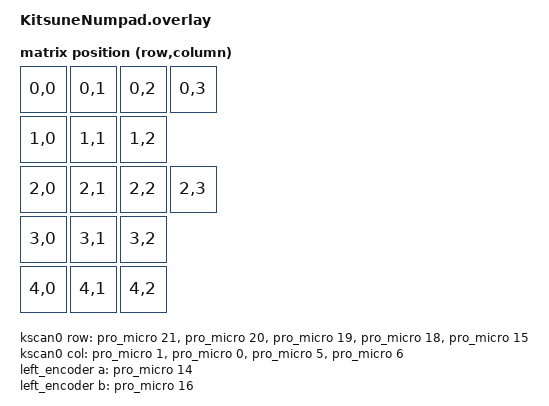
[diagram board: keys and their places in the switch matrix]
#include <dt-bindings/zmk/matrix_transform.h>
#include "KitsuneNumpad-layouts.dtsi"

&physical_layout0 {
    transform = <&matrix_transform0>;
};

/ {
    chosen {
        zephyr,display = &oled;
        zmk,kscan = &kscan0;
        zmk,physical-layout = &physical_layout0;
    };

    matrix_transform0: keymap_transform_0 {
        compatible = "zmk,matrix-transform";
        columns = <4>;
        rows = <5>;
        map = <
            RC(0,0) RC(0,1) RC(0,2) RC(0,3)
            RC(1,0) RC(1,1) RC(1,2)
            RC(2,0) RC(2,1) RC(2,2) RC(2,3)
            RC(3,0) RC(3,1) RC(3,2) 
            RC(4,0) RC(4,1) RC(4,2)
        >;
    };


    kscan0: kscan {
        compatible = "zmk,kscan-gpio-matrix";
        wakeup-source;

        diode-direction = "col2row";

        row-gpios
            = <&pro_micro 21 (GPIO_ACTIVE_HIGH | GPIO_PULL_DOWN)>
            , <&pro_micro 20 (GPIO_ACTIVE_HIGH | GPIO_PULL_DOWN)>
            , <&pro_micro 19 (GPIO_ACTIVE_HIGH | GPIO_PULL_DOWN)>
            , <&pro_micro 18 (GPIO_ACTIVE_HIGH | GPIO_PULL_DOWN)>
            , <&pro_micro 15 (GPIO_ACTIVE_HIGH | GPIO_PULL_DOWN)>
            ;

        col-gpios
            = <&pro_micro 1 GPIO_ACTIVE_HIGH>
            , <&pro_micro 0 GPIO_ACTIVE_HIGH>
            , <&pro_micro 5 GPIO_ACTIVE_HIGH>
            , <&pro_micro 6 GPIO_ACTIVE_HIGH>
            ;
    };

    left_encoder: encoder_left {
        compatible = "alps,ec11";
        a-gpios = <&pro_micro 14 (GPIO_ACTIVE_HIGH | GPIO_PULL_UP)>;
        b-gpios = <&pro_micro 16 (GPIO_ACTIVE_HIGH | GPIO_PULL_UP)>;
        steps = <80>;
        status = "disabled";
    };

    sensors: sensors {
        compatible = "zmk,keymap-sensors";
        sensors = <&left_encoder>;
        triggers-per-rotation = <20>;
    };

};

&pro_micro_i2c {
    status = "okay";

    oled: ssd1306@3c {
        compatible = "solomon,ssd1306fb";
        reg = <0x3c>;
        width = <128>;
        height = <32>;
        segment-offset = <0>;
        page-offset = <0>;
        display-offset = <0>;
        multiplex-ratio = <31>;
        segment-remap;
        com-invdir;
        com-sequential;
        inversion-on;
        prechargep = <0x22>;
    };
};

// &left_encoder {
//     status = "okay";
// };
